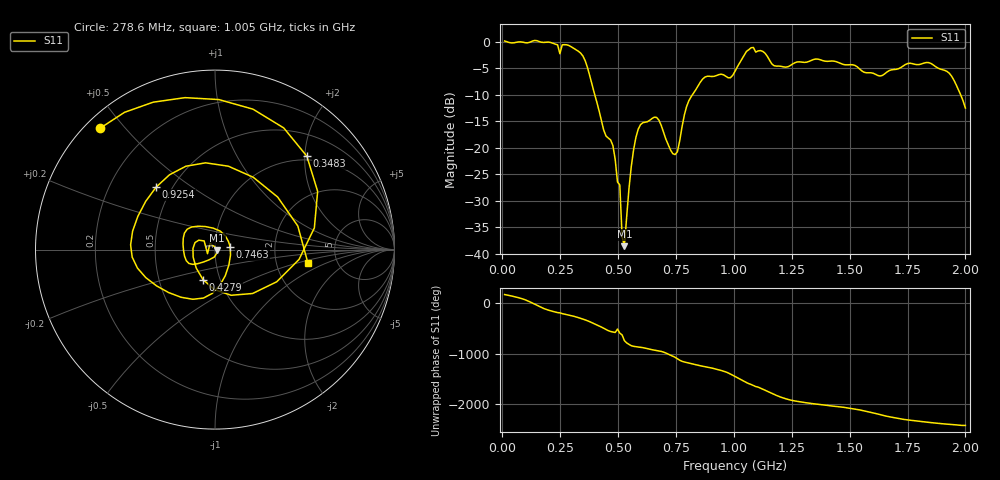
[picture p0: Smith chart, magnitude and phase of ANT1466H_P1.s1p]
!Created with skrf (http://scikit-rf.org).
# Hz S RI R 50.0
!freq ReS11 ImS11
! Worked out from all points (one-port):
!   201 points, 10 MHz to 2 GHz, reference 50 ohm
!   lowest |S11| = -38.6 dB at 527.4 MHz (marker M1), VSWR 1.02, Z = 51.1 - j0.424 ohm
!   |S11| at or under -10 dB: 399.1 MHz to 821.8 MHz (422.7 MHz wide, 69.2 % of centre); 1.979 GHz to end of sweep
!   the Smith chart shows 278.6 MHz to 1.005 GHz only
!   S11 on the Smith chart (normalised r, x): 278.6 MHz: 0.04, +0.43; 348.3 MHz: 0.92, +2.04; 427.9 MHz: 0.83, -0.29; 746.3 MHz: 1.18, +0.04; 925.4 MHz: 0.41, +0.37; 1.005 GHz: 3.05, -0.64
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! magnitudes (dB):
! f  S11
! 10 MHz  0.1
! 209 MHz  -0.2
! 248.8 MHz  -2.3
! 258.8 MHz  -0.6
! 278.6 MHz  -0.6
! 348.3 MHz  -2.7
! 427.9 MHz  -14.9
! 477.6 MHz  -19.6
! 497.6 MHz  -26.5
! 507.5 MHz  -27.0
! 517.5 MHz  -36.8
! 527.4 MHz  -38.6
! 557.2 MHz  -23.5
! 597 MHz  -15.7
! 666.7 MHz  -14.3
! 746.3 MHz  -21.3
! 756.2 MHz  -20.8
! 806 MHz  -11.1
! 865.7 MHz  -7.1
! 925.4 MHz  -6.4
! 1.005 GHz  -5.6
! 1.075 GHz  -1.2
! 1.254 GHz  -4.2
! 1.502 GHz  -4.4
! 1.632 GHz  -6.5
! 1.751 GHz  -4.1
! 1.92 GHz  -5.6
! 2 GHz  -12.5
